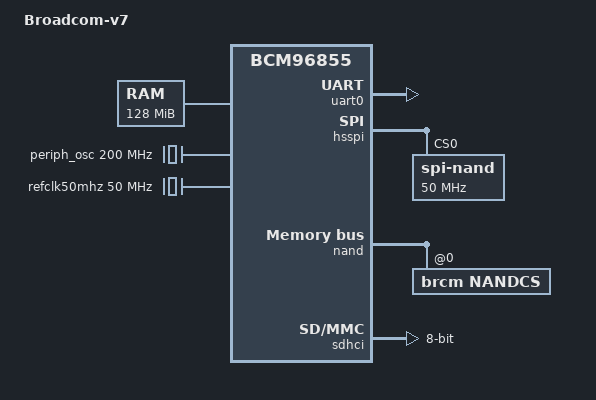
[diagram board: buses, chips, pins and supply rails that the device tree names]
/dts-v1/;



/ {
	model = "Broadcom-v7";
	compatible = "brcm,brcm-v7";
	#address-cells = <0x1>;
	#size-cells = <0x1>;

	aliases {
		serial0 = &uart0;
	};


	chosen {
		stdout-path = "serial0:115200n8";
	};

	memory {
		device_type = "memory";
		reg = <0x0 0x08000000>;
	};

    boot_state {
        u-boot,dm-pre-reloc;
        compatible = "brcm,bcmbca-bootstate-v2";
        reg-names = "reset_reason", "reset_status";
        reg =   <0xff802628 0x04>,
            <0xff85a018 0x04>;
    };

	clocks {
		compatible = "simple-bus";
		#address-cells = <1>;
		#size-cells = <1>;
		ranges;
		u-boot,dm-pre-reloc;

		periph_osc: periph-osc {
			compatible = "fixed-clock";
			#clock-cells = <0>;
			clock-frequency = <200000000>;
			u-boot,dm-pre-reloc;
		};

		hsspi_pll: hsspi-pll {
			compatible = "fixed-factor-clock";
			#clock-cells = <0>;
			clocks = <&periph_osc>;
			clock-mult = <1>;
			clock-div = <1>;
			u-boot,dm-pre-reloc;
		};

		refclk50mhz: refclk50mhz {
			compatible = "fixed-clock";
			#clock-cells = <0>;
			clock-frequency = <50000000>;
		};
	};

	ubus@ff800000 {
		compatible = "simple-bus";
		#address-cells = <0x1>;
		#size-cells = <0x1>;
		u-boot,dm-pre-reloc;

		uart0: serial@ff812000 {
			u-boot,dm-pre-reloc;
			compatible = "arm,pl011", "arm,primecell";
			reg = <0xff812000 0x1000>;
			clock = <50000000>;
			status = "okay";
		};

		wdt1: watchdog@ff800480 {
			compatible = "brcm,bcm6345-wdt";
			reg = <0xff800480 0x14>;
			clocks = <&refclk50mhz>;
		};

		wdt2: watchdog@ff8004c0 {
			compatible = "brcm,bcm6345-wdt";
			reg = <0xff8004c0 0x14>;
			clocks = <&refclk50mhz>;
		};

		wdt-reboot {
			compatible = "wdt-reboot";
			wdt = <&wdt1>;
		};

		hsspi: hsspi@ff801000 {
			compatible = "brcm,bcm6328-hsspi";
			#address-cells = <0x1>;
			#size-cells = <0x0>;
			u-boot,dm-pre-reloc;
			
			reg = <0xff801000 0x1000>;
			clocks = <&hsspi_pll>, <&hsspi_pll>;
			clock-names = "hsspi", "pll";
			spi-max-frequency = <50000000>;
			num-cs = <8>;
			status = "disabled";
		};

		nand: nand-controller@ff801800 {
			compatible = "brcm,nand-bcmbca", "brcm,brcmnand-v7.1";
			reg-names = "nand", "nand-int-base";
			reg = <0xff801800 0x600>, <0xff802000 0x10>;
			parameter-page-big-endian = <0>;
			status = "disabled";
		};

		sdhci: sdhci@ff810000 {
			compatible = "brcm,bcm63xx-sdhci",
						 "brcm,sdhci-brcmbca";
			reg-names = "sdhci-base", "sdhci-boot";
			reg = <0xff810000 0x100>,
				  <0xff810200 0x40>;
			bus-width = <8>;
			u-boot,dm-pre-reloc;
		};

		rng: rng@ff800b80 {
			compatible = "brcm,iproc-rng200";
			reg = <0xff800b80 0x28>;
			u-boot,dm-pre-reloc;
		};

		pinctrl: pinctrl {
		compatible = "brcm,bcmbca-pinctrl";
		reg = <0xff800554 0x14>;
		};
	}; 
};

&nand {
	status = "okay";
	write-protect = <0>;
	#address-cells = <1>;
	#size-cells = <0>;

	nandcs@0 {
		compatible = "brcm,nandcs";
		reg = <0>;
	};
};

&hsspi {
	status = "okay";
	spi-nand {
		compatible = "spi-nand";
		reg = <0>;
		#address-cells = <1>;
		#size-cells = <0>;
		u-boot,dm-pre-reloc;				
		spi-max-frequency = <50000000>;
	};
};


